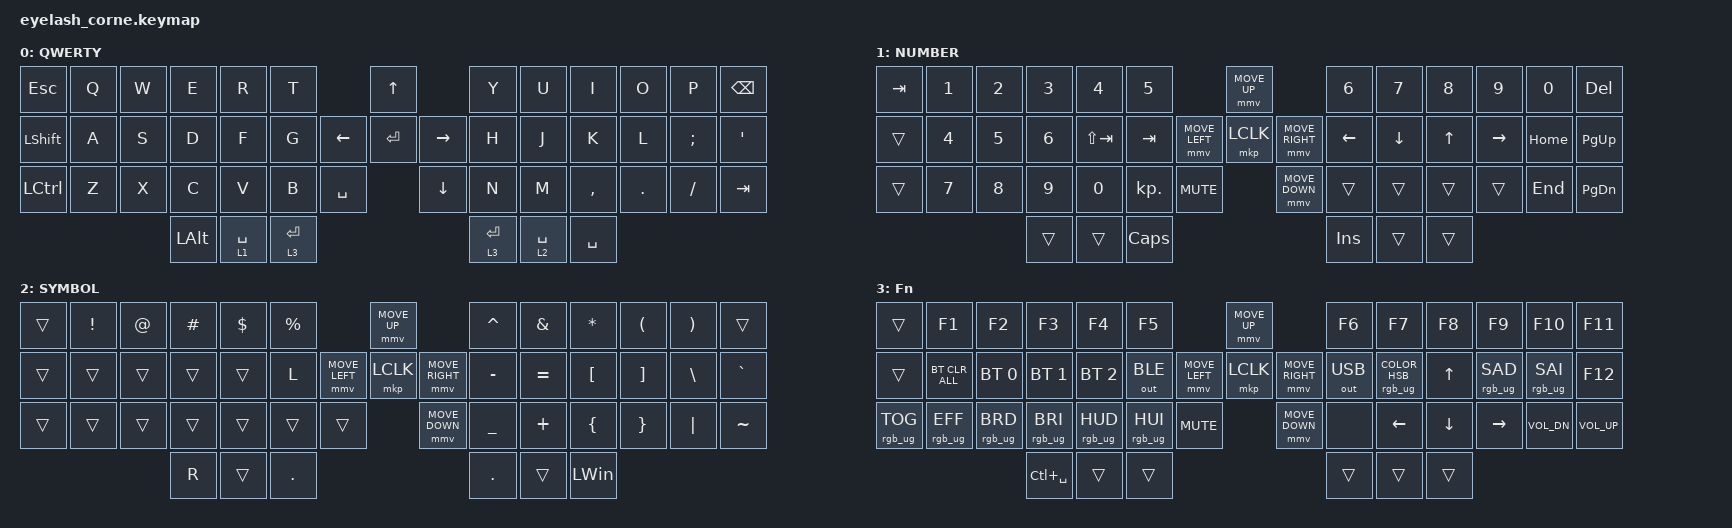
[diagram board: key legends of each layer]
#define ZMK_POINTING_DEFAULT_MOVE_VAL 1200  // 600
#define ZMK_POINTING_DEFAULT_SCRL_VAL 25   // 10

#include <input/processors.dtsi>
#include <zephyr/dt-bindings/input/input-event-codes.h>
#include <behaviors.dtsi>
#include <dt-bindings/zmk/bt.h>
#include <dt-bindings/zmk/keys.h>
#include <dt-bindings/zmk/outputs.h>
#include <dt-bindings/zmk/pointing.h>
#include <dt-bindings/zmk/rgb.h>

&mmv_input_listener { input-processors = <&zip_xy_scaler 2 1>; };

&msc_input_listener { input-processors = <&zip_scroll_scaler 2 1>; };

/ {
    combos { compatible = "zmk,combos"; };

    keymap {
        compatible = "zmk,keymap";

        default_layer {
            display-name = "QWERTY";
            bindings = <
&kp ESCAPE      &kp Q  &kp W  &kp E     &kp R        &kp T                               &kp UP                &kp Y        &kp U        &kp I      &kp O    &kp P     &kp BSPC
&kp LEFT_SHIFT  &kp A  &kp S  &kp D     &kp F        &kp G                     &kp LEFT  &kp ENTER  &kp RIGHT  &kp H        &kp J        &kp K      &kp L    &kp SEMI  &kp SQT
&kp LCTRL       &kp Z  &kp X  &kp C     &kp V        &kp B        &kp SPACE              &kp DOWN              &kp N        &kp M        &kp COMMA  &kp DOT  &kp FSLH  &kp TAB
                              &kp LALT  &lt 1 SPACE  &lt 3 ENTER                                               &lt 3 ENTER  &lt 2 SPACE  &kp SPACE
            >;
        };

        lower_layer {
            display-name = "NUMBER";
            bindings = <
&kp TAB  &kp N1  &kp N2  &kp N3  &kp N4       &kp N5                                      &mmv MOVE_UP                     &kp N6    &kp N7    &kp N8  &kp N9     &kp N0    &kp DELETE
&trans   &kp N4  &kp N5  &kp N6  &kp LS(TAB)  &kp TAB                     &mmv MOVE_LEFT  &mkp LCLK       &mmv MOVE_RIGHT  &kp LEFT  &kp DOWN  &kp UP  &kp RIGHT  &kp HOME  &kp PG_UP
&trans   &kp N7  &kp N8  &kp N9  &kp N0       &kp KP_DOT    &kp C_MUTE                    &mmv MOVE_DOWN                   &trans    &trans    &trans  &trans     &kp END   &kp PG_DN
                         &trans  &trans       &kp CAPSLOCK                                                                 &kp INS   &trans    &trans
            >;
        };

        raise_layer {
            display-name = "SYMBOL";
            bindings = <
&trans  &kp EXCL  &kp AT  &kp HASH  &kp DLLR  &kp PRCNT                            &mmv MOVE_UP                     &kp CARET  &kp AMPS   &kp ASTRK     &kp LPAR  &kp RPAR  &trans
&trans  &trans    &trans  &trans    &trans    &kp L                &mmv MOVE_LEFT  &mkp LCLK       &mmv MOVE_RIGHT  &kp MINUS  &kp EQUAL  &kp LBKT      &kp RBKT  &kp BSLH  &kp GRAVE
&trans  &trans    &trans  &trans    &trans    &trans     &trans                    &mmv MOVE_DOWN                   &kp UNDER  &kp PLUS   &kp LBRC      &kp RBRC  &kp PIPE  &kp TILDE
                          &kp R     &trans    &kp DOT                                                               &kp DOT    &trans     &kp LEFT_WIN
            >;
        };

        layer_3 {
            display-name = "Fn";
            bindings = <
&trans           &kp F1           &kp F2           &kp F3           &kp F4           &kp F5                                         &mmv MOVE_UP                     &kp F6        &kp F7                           &kp F8          &kp F9           &kp F10          &kp F11
&trans           &bt BT_CLR_ALL   &bt BT_SEL 0     &bt BT_SEL 1     &bt BT_SEL 2     &out OUT_BLE                   &mmv MOVE_LEFT  &mkp LCLK       &mmv MOVE_RIGHT  &out OUT_USB  &rgb_ug RGB_COLOR_HSB(37,48,84)  &kp UP_ARROW    &rgb_ug RGB_SAD  &rgb_ug RGB_SAI  &kp F12
&rgb_ug RGB_TOG  &rgb_ug RGB_EFF  &rgb_ug RGB_BRD  &rgb_ug RGB_BRI  &rgb_ug RGB_HUD  &rgb_ug RGB_HUI  &kp C_MUTE                    &mmv MOVE_DOWN                   &none         &kp LEFT_ARROW                   &kp DOWN_ARROW  &kp RIGHT_ARROW  &kp C_VOL_DN     &kp C_VOLUME_UP
                                                   &kp LC(SPACE)    &trans           &trans                                                                          &trans        &trans                           &trans
            >;
        };
    };
};
